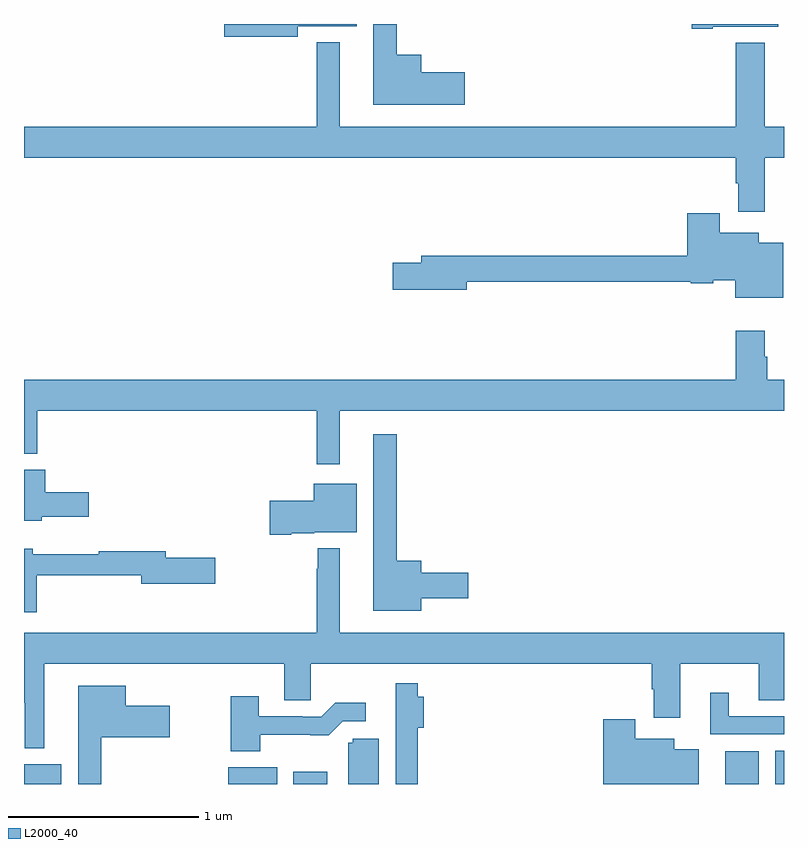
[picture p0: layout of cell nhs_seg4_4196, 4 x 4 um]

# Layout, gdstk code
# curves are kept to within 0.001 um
import gdstk
lib = gdstk.Library(unit=1e-6, precision=1e-09)
def R(c, l, rs):  # rectangles x0, y0, x1, y1
    for r in rs: c.add(gdstk.rectangle(r[:2], r[2:], *l))
def P(c, l, *ps):  # polygons
    for p in ps: c.add(gdstk.Polygon(p, *l))
L2000_40 = (2000, 40)

nhs_seg4_4196 = lib.new_cell('nhs_seg4_4196')
R(nhs_seg4_4196, L2000_40, [(335,750.9,335.197,751.003), (336.074,750.9,336.332,750.988), (336.417,750.9,336.595,750.964), (338.69,750.9,338.866,751.072), (338.954,750.9,339,751.076)])
P(nhs_seg4_4196, L2000_40, [(338.626,754.886),(338.971,754.886),(338.971,754.9),(338.514,754.9),(338.514,754.874),(338.626,754.874)],
  [(337.321,754.646),(337.09,754.646),(337.09,754.738),(336.961,754.738),(336.961,754.9),(336.839,754.9),(336.839,754.475),(337.321,754.475)],
  [(336.442,754.889),(336.751,754.889),(336.751,754.9),(336.054,754.9),(336.054,754.834),(336.442,754.834)],
  [(338.899,754.196),(339,754.196),(339,754.36),(338.899,754.36),(338.899,754.801),(338.747,754.801),(338.747,754.36),(336.661,754.36),(336.661,754.804),(336.54,754.804),(336.54,754.36),(335,754.36),(335,754.196),(338.747,754.196),(338.747,754.062),(338.759,754.062),(338.759,753.912),(338.899,753.912)],
  [(338.995,753.748),(338.866,753.748),(338.866,753.802),(338.662,753.802),(338.662,753.904),(338.492,753.904),(338.492,753.68),(337.091,753.68),(337.091,753.644),(336.942,753.644),(336.942,753.502),(337.33,753.502),(337.33,753.544),(338.508,753.544),(338.508,753.536),(338.628,753.536),(338.628,753.551),(338.744,753.551),(338.744,753.458),(338.995,753.458)],
  [(335,752.639),(335.069,752.639),(335.069,752.864),(336.54,752.864),(336.54,752.583),(336.661,752.583),(336.661,752.864),(339,752.864),(339,753.028),(338.912,753.028),(338.912,753.149),(338.899,753.149),(338.899,753.286),(338.747,753.286),(338.747,753.028),(335,753.028)],
  [(337.09,751.877),(337.339,751.877),(337.339,752.012),(337.09,752.012),(337.09,752.074),(336.961,752.074),(336.961,752.74),(336.839,752.74),(336.839,751.811),(337.09,751.811)],
  [(335.094,752.306),(335.341,752.306),(335.341,752.436),(335.111,752.436),(335.111,752.554),(335,752.554),(335,752.285),(335.094,752.285)],
  [(336.406,752.219),(336.528,752.219),(336.528,752.225),(336.751,752.225),(336.751,752.479),(336.524,752.479),(336.524,752.391),(336.294,752.391),(336.294,752.213),(336.406,752.213)],
  [(335.107,751.532),(336.371,751.532),(336.371,751.342),(336.51,751.342),(336.51,751.532),(338.303,751.532),(338.303,751.398),(338.315,751.398),(338.315,751.248),(338.455,751.248),(338.455,751.532),(338.867,751.532),(338.867,751.342),(339,751.342),(339,751.696),(336.661,751.696),(336.661,752.14),(336.547,752.14),(336.547,752.033),(336.54,752.033),(336.54,751.696),(335,751.696),(335,751.327),(335.003,751.327),(335.003,751.088),(335.107,751.088)],
  [(335.066,751.998),(335.618,751.998),(335.618,751.955),(336.007,751.955),(336.007,752.09),(335.746,752.09),(335.746,752.126),(335.393,752.126),(335.393,752.108),(335.047,752.108),(335.047,752.137),(335,752.137),(335,751.803),(335.066,751.803)],
  [(337.073,751.195),(337.103,751.195),(337.103,751.36),(337.073,751.36),(337.073,751.429),(336.956,751.429),(336.956,751.206),(336.957,751.206),(336.957,750.9),(337.073,750.9)],
  [(335.407,751.147),(335.767,751.147),(335.767,751.312),(335.536,751.312),(335.536,751.417),(335.285,751.417),(335.285,750.9),(335.407,750.9)],
  [(339,751.257),(338.71,751.257),(338.71,751.381),(338.612,751.381),(338.612,751.161),(339,751.161)],
  [(336.243,751.158),(336.605,751.157),(336.678,751.23),(336.799,751.23),(336.799,751.327),(336.637,751.327),(336.564,751.254),(336.464,751.254),(336.464,751.257),(336.235,751.257),(336.235,751.363),(336.088,751.363),(336.088,751.073),(336.243,751.073)],
  [(338.551,751.084),(338.422,751.084),(338.422,751.138),(338.218,751.138),(338.218,751.24),(338.048,751.24),(338.048,750.9),(338.551,750.9)],
  [(336.868,751.137),(336.729,751.137),(336.729,751.116),(336.707,751.116),(336.707,750.9),(336.868,750.9)])

lib.write_gds('nhs_seg4_4196.gds')
